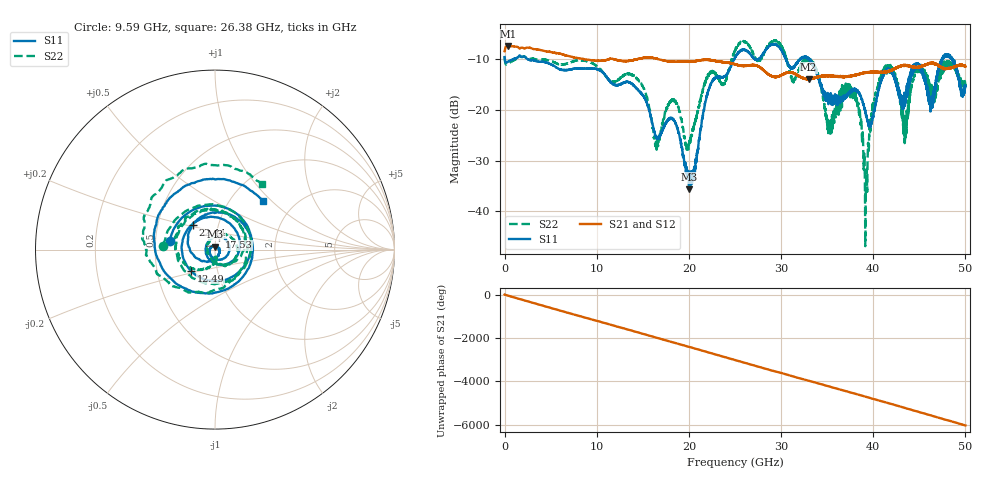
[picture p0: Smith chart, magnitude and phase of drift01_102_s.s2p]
!Created with skrf (http://scikit-rf.org).
# Hz S RI R 50.0
!freq ReS11 ImS11 ReS21 ImS21 ReS12 ImS12 ReS22 ImS22
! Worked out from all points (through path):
!   10001 points, 300 kHz to 50 GHz, reference 50 ohm
!   highest |S21| = -7.33 dB at 330.3 MHz (marker M1); lowest = -14.0 dB at 32.99 GHz (marker M2)
!   group delay of S21, straight-line fit = 335 ps
!   lowest |S11| = -35.7 dB at 20.01 GHz (marker M3), VSWR 1.03, Z = 49.8 + j1.63 ohm
!   |S11| at or under -10 dB: 2.555 GHz to 24.91 GHz (22.36 GHz wide, 163 % of centre); 30.53 GHz to 32.01 GHz (1.485 GHz wide, 4.75 % of centre); 33.08 GHz to 47.43 GHz (14.35 GHz wide, 35.7 % of centre) (the widest 3 of 20)
!   |S22| runs from -46.9 to -6.3 dB; largest |S21 - S12| = 0.01
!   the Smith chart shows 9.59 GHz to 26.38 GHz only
!   S11 on the Smith chart (normalised r, x): 9.59 GHz: 0.59, +0.06; 12.49 GHz: 0.75, -0.18; 17.53 GHz: 1.04, +0.15; 22.44 GHz: 0.75, +0.21; 26.38 GHz: 1.41, +0.88
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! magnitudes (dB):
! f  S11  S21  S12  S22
! 300 kHz  -9.5  -8.4  -8.5  -9.5
! 330.3 MHz  -10.5  -7.3  -7.3  -10.9
! 8.335 GHz  -11.8  -9.8  -9.8  -10.2
! 9.59 GHz  -11.8  -10.2  -10.2  -10.8
! 12.49 GHz  -15.0  -10.2  -10.2  -13.8
! 16.67 GHz  -25.7  -9.9  -9.9  -27.0
! 17.53 GHz  -22.6  -10.3  -10.3  -20.0
! 20.01 GHz  -35.7  -10.5  -10.5  -26.9
! 22.44 GHz  -14.6  -10.2  -10.2  -12.5
! 25 GHz  -9.6  -11.0  -11.0  -8.4
! 26.38 GHz  -8.4  -11.2  -11.2  -6.9
! 32.99 GHz  -10.0  -14.0  -14.0  -10.0
! 33.34 GHz  -10.7  -13.8  -13.8  -10.5
! 35.23 GHz  -17.6  -13.3  -13.2  -22.7
! 37.99 GHz  -15.9  -13.2  -13.1  -17.4
! 39.17 GHz  -20.6  -12.6  -12.6  -41.2
! 40.14 GHz  -19.9  -12.5  -12.5  -17.9
! 41.67 GHz  -12.1  -12.2  -12.3  -11.6
! 43.45 GHz  -16.8  -11.3  -11.3  -25.2
! 44.88 GHz  -10.9  -11.5  -11.5  -11.8
! 46.27 GHz  -19.5  -10.8  -10.7  -16.8
! 50 GHz  -15.3  -11.4  -11.4  -14.9
